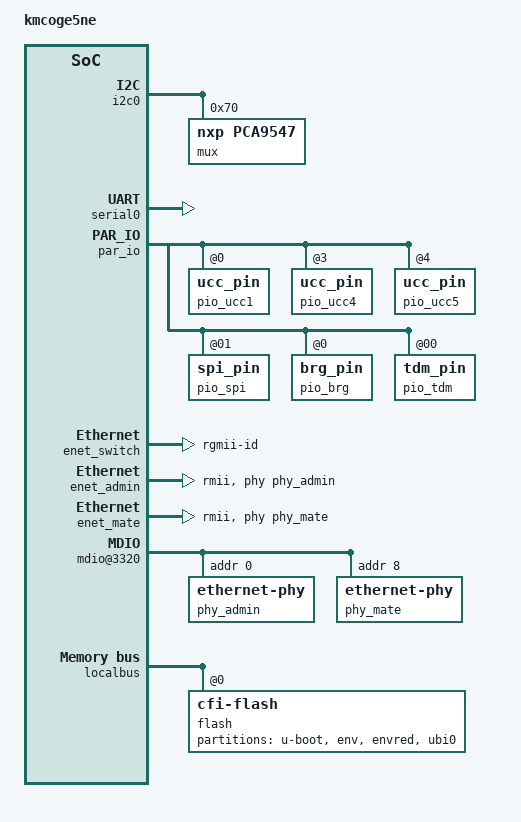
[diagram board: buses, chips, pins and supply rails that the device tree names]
// SPDX-License-Identifier: GPL-2.0+
/*
 * Hitachi Power Grids KMCOGE5ne Device Tree Source
 *
 * Copyright (C) 2020 Heiko Schocher <hs@denx.de>
 *
 */

/dts-v1/;

#include "km836x.dtsi"

/ {
	model = "kmcoge5ne";
	compatible = "hitachi,kmcoge5ne";

	aliases {
		ethernet0 = &enet_admin;
		ethernet1 = &enet_mate;
		ethernet2 = &enet_switch;
		serial0 = &serial0;
	};
};

&soc {
	/* brg for hdlc clk */
	brg@0 {
		compatible = "fsl,mpc-brg";
		brg-name = "brg16";
		brg-frequency = <20000000>; /* 20 MHz */
		pio-handle =  <&pio_brg>;
	};
};

&i2c0 {
	mux@70 {
		compatible = "nxp,pca9547";
		reg = <0x70>;
		#address-cells = <1>;
		#size-cells = <0>;

		i2c@1 {
			reg = <1>;
			#address-cells = <1>;
			#size-cells = <0>;

			/* Inventory EEPROM of the unit itself */
			ivm@50 {
				label = "MAIN_CTRL";
				compatible = "dummy";
				reg = <0x50>;
			};
		};

		i2c@2 {
			reg = <2>;
			#address-cells = <1>;
			#size-cells = <0>;

			/* Inventory EEPROM of the fan unit */
			fanu-ivm@50 {
				label = "FANUV";
				compatible = "dummy";
				reg = <0x50>;
			};

			/* fan unit (GPIOs and so on) */
			fanu@20 {
				label = "FANUV_CTRL";
				compatible = "dummy";
				reg = <0x20>;
			};
		};

		i2c@3 {
			reg = <3>;
			#address-cells = <1>;
			#size-cells = <0>;

			backplane@50 {
				label = "BP_CTRL";
				compatible = "dummy";
				reg = <0x50>;
			};
		};
	};
};

&serial0 {
	status = "okay";
};

&par_io {
	pio_ucc1: ucc_pin@0 { /* RGMII mng-switch */
		pio-map = <
			/* port pin dir open_drain assignment has_irq */
			0   1  3  0  2  0	/* MDIO   (PA1,   bi, f2) */
			0   2  1  0  1  0	/* MDC    (PA2,   in, f1) */

			0   3  1  0  1  0	/* TxD0   (PA3,   in, f1) */
			0   4  1  0  1  0	/* TxD1   (PA4,   in, f1) */
			0   5  1  0  1  0	/* TxD2   (PA5,   in, f1) */
			0   6  1  0  1  0	/* TxD3   (PA6,   in, f1) */
			0   9  2  0  1  0	/* RxD0   (PA9,  out, f1) */
			0  10  2  0  1  0	/* RxD1   (PA10, out, f1) */
			0  11  2  0  1  0	/* RxD2   (PA11, out, f1) */
			0  12  2  0  1  0	/* RxD3   (PA12, out, f1) */
			0   7  1  0  1  0	/* TX_EN  (PA7,   in, f1) */
			0  15  2  0  1  0	/* RX_DV  (PA15, out, f1) */
			0   0  2  0  1  0	/* RX_CLK (PA0,  out, f1) */
			2   9  1  0  3  0	/* GTX_CLK        (CLK10) */
			2   8  2  0  1  0	/* GTX125          (CLK9) */
		>;
	};

	pio_ucc4: ucc_pin@3 { /* RMII, admin front port */
		pio-map = <
			/* port pin dir open_drain assignment has_irq */
			0   1  3  0  2  0	/* MDIO   (PA1,   bi, f2) */
			0   2  1  0  1  0	/* MDC    (PA2,   in, f1) */

			1  14  1  0  1  0	/* TxD0   (PB14, out, f1) */
			1  15  1  0  1  0	/* TxD1   (PB15, out, f1) */
			1  20  2  0  1  0	/* RxD0   (PB20, in,  f1) */
			1  21  2  0  1  0	/* RxD1   (PB21, in,  f1) */
			1  18  1  0  1  0	/* TX_EN  (PB18, out, f1) */
			1  26  2  0  1  0	/* RX_DV  (PB26, in,  f1) */
			1  27  2  0  1  0	/* RX_ER  (PB27, in,  f1) */

			2  16  2  0  1  0	/* UCC4_RMII_CLK  (CLK17) */
		>;
	};

	pio_ucc5: ucc_pin@4 { /* RMII, mate backplane port */
		pio-map = <
			/* port pin dir open_drain assignment has_irq */
			0   1  3  0  2  0	/* MDIO  (PA1,   bi, f2) */
			0   2  1  0  1  0	/* MDC   (PA2,   in, f1) */

			3   0  1  0  1  0	/* TxD0  (PD0,  out, f1) */
			3   1  1  0  1  0	/* TxD1  (PD1,  out, f1) */
			3   6  2  0  1  0	/* RxD0  (PD6,   in, f1) */
			3   7  2  0  1  0	/* RxD1  (PD7,   in, f1) */
			3   4  1  0  1  0	/* TX_EN (PD4,  out, f1) */
			3  12  2  0  1  0	/* RX_DV (PD12,  in, f1) */
			3  13  2  0  1  0	/* RX_ER (PD13,  in, f1) */

			2  15  2  0  1  0	/* UCCx_RMII_CLK  (CLK16) */
		>;
	};

	pio_spi: spi_pin@01 {
		pio-map = <
			/* port  pin  dir  open_drain  assignment  has_irq  */
			4  28  3  0  3  0	/* SPI_MOSI (PE28, out, f3) */
			4  29  3  0  3  0	/* SPI_MISO (PE29, out, f3) */
			4  30  3  0  3  0	/* SPI_CLK  (PE30, out, f3) */
		>;
	};

	pio_brg: brg_pin@0 {
		pio-map = <
			/* port  pin  dir  open_drain  assignment  has_irq  */
			2  25  1  0  1  0	/* BRG	   (PC25, out, f1) */
		>;
	};

	pio_tdm: tdm_pin@00 {
		pio-map = <
			/* port pin dir open_drain assignment has_irq */
			/* TDMa */
			0  8  3  0  2  0	/* RxD0    (PA8,  bi, f2) */
			0  13 3  0  2  0	/* TxD0    (PA13, bi, f2) */
			0  14 2  0  2  0	/* RSync0  (PA14, in, f2) */
			2  7  2  0  1  0	/* RxClk8  (PC7,  in, f1) */
			/* TDMb */
			0  27 3  0  2  0	/* RxD1    (PA27, bi, f2) */
			0  22 3  0  2  0	/* TxD1    (PA22, bi, f2) */
			0  28 2  0  2  0	/* RSync1  (PA28, in, f2) */
			2  1  2  0  1  0	/* RxClk2  (PC1,  in, f1) */
			/* TDMc */
			1  5  3  0  2  0	/* RxD2    (PB5,  bi, f2) */
			1  8  3  0  2  0	/* TxD2    (PB8,  bi, f2) */
			1  2  2  0  3  0	/* RSync2  (PB2,  in, f3) */
			2  6  2  0  1  0	/* RxClk7  (PC6,  in, f1) */
			/* TDMd */
			1  22 3  0  2  0	/* RxD3    (PB22, bi, f2) */
			1  19 3  0  1  0	/* TxD3    (PB19, bi, f1) */
			1  16 2  0  2  0	/* RSync3  (PB16, in, f2) */
			2  13 2  0  1  0	/* RxClk14 (PC13, in, f1) */
			/* TDMe */
			3  8  3  0  2  0	/* RxD4    (PD8,  bi, f2) */
			3  5  3  0  2  0	/* TxD4    (PD5,  bi, f2) */
			3  2  2  0  2  0	/* RSync4  (PD2 , in, f2) */
			2  22 2  0  1  0	/* RxClk23 (PC22, in, f1) */
			/* TDMf */
			3  19 3  0  2  0	/* RxD5    (PD19, bi, f2) */
			3  22 3  0  2  0	/* TxD5    (PD22, bi, f2) */
			3  16 2  0  1  0	/* RSync5  (PD16, in, f1) */
			2  17 2  0  1  0	/* RxClk18 (PC17, in, f1) */
			/* TDMg */
			4  8  3  0  2  0	/* RxD6    (PE8,  bi, f2) */
			4  5  3  0  2  0	/* TxD6    (PE5,  bi, f2) */
			4  2  2  0  1  0	/* RSync6  (PE2,  in, f1) */
			2  19 2  0  1  0	/* RxClk20 (PC19, in, f1) */
			/* TDMh */
			4  19 3  0  2  0	/* RxD7    (PE19, bi, f2) */
			4  22 3  0  3  0	/* TxD7    (PE22, bi, f3) */
			4  16 2  0  2  0	/* RSync7  (PE16, in, f2) */
			2  21 2  0  1  0	/* RxClk22 (PC21, in, f1) */
			/* RxTxClk0/1 */
			2  0  2  0  1  0	/* Clk1    (PC0,  in, f1) */
			2  23 2  0  1  0	/* Clk24   (PC23, in, f1) */
			/* RxTxSync0/1 */
			2  10 2  0  1  0	/* Clk11   (PC10, in, f1) */
			2  20 2  0  1  0>;	/* Clk21   (PC20, in, f1) */
	};
};

&qe {
	/* mng-switch port (UCC1, MDIO 0x10, RGMII) */
	enet_switch: ethernet@2000 {
		device_type = "network";
		compatible = "ucc_geth";
		cell-index = <1>;
		reg = <0x2000 0x200>;
		interrupts = <32>;
		interrupt-parent = <&qeic>;
		local-mac-address = [ 00 00 00 00 00 00 ];
		rx-clock-name = "none";
		tx-clock-name = "clk9";
		/*id=0, full-dup, 1G, no-pause, no-asym_p*/
		fixed-link = <0 1 1000 0 0>;
		phy-connection-type = "rgmii-id";
		pio-handle = <&pio_ucc1>;
	};

	/* admin and debug port (UCC4, MDIO 0x00, RMII) */
	enet_admin: ucc@3200 {
		device_type = "network";
		compatible = "ucc_geth";
		cell-index = <4>;
		reg = <0x3200 0x200>;
		interrupts = <35>;
		interrupt-parent = <&qeic>;
		local-mac-address = [ 00 00 00 00 00 00 ];
		rx-clock-name = "none";
		tx-clock-name = "clk17";
		phy-handle = <&phy_admin>;
		phy-connection-type = "rmii";
		pio-handle = <&pio_ucc4>;
	};

	/* mate backplane port (UCC5, MDIO 0x08, RMII) */
	enet_mate: ucc@2400 {
		device_type = "network";
		compatible = "ucc_geth";
		cell-index = <5>;
		reg = <0x2400 0x200>;
		interrupts = <40>;
		interrupt-parent = <&qeic>;
		local-mac-address = [ 00 00 00 00 00 00 ];
		rx-clock-name = "none";
		tx-clock-name = "clk16";
		phy-handle = <&phy_mate>;
		phy-connection-type = "rmii";
		pio-handle = <&pio_ucc5>;
	};

	mdio@3320 {
		#address-cells = <1>;
		#size-cells = <0>;
		reg = <0x3320 0x18>;
		compatible = "fsl,ucc-mdio";

		/* admin front port (UCC4, MDIO 0x00, RMII) */
		phy_admin: ethernet-phy@00 {
			reg = <0x0>;
		};

		/* mate bp port (UCC5, MDIO 0x08, RMII) */
		phy_mate: ethernet-phy@08 {
			reg = <0x08>;
		};
	};
};

&localbus {
	ranges = <0 0 0xf0000000 0x04000000
		   1 0 0xe8000000 0x01000000
		   3 0 0xa0000000 0x10000000
		   4 0 0xb0000000 0x10000000>;

	flash@0,0 {
		compatible = "cfi-flash";
		reg = <0 0 0x04000000>;
		nornand = "nor";
		#address-cells = <1>;
		#size-cells = <1>;
		bank-width = <2>;
		partition@0 { /* 768KB */
			label = "u-boot";
			reg = <0 0xC0000>;
		};
		partition@c0000 { /* 128KB */
			label = "env";
			reg = <0xC0000 0x20000>;
		};
		partition@e0000 { /* 128KB */
			label = "envred";
			reg = <0xE0000 0x20000>;
		};
		partition@100000 { /* 64512KB */
			label = "ubi0";
			reg = <0x100000 0x3F00000>;
		};
	};
};

#include "kmcoge5ne-uboot.dtsi"
